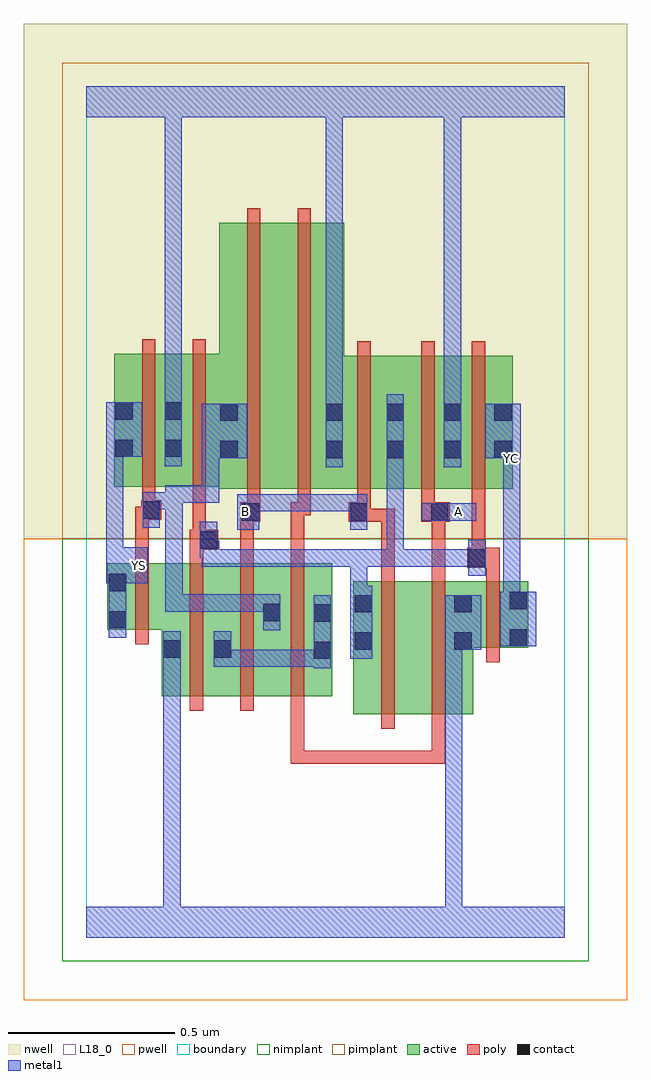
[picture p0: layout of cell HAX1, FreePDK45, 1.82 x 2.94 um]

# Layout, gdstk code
import gdstk
lib = gdstk.Library(unit=1e-6, precision=1e-09)
def R(c, l, rs):  # rectangles x0, y0, x1, y1
    for r in rs: c.add(gdstk.rectangle(r[:2], r[2:], *l))
def A(c, l, x, y, w, h, nx, ny, dx, dy):  # array of equal rectangles
    R(c, l, [(x+i*dx, y+j*dy, x+i*dx+w, y+j*dy+h) for i in range(nx) for j in range(ny)])
active = (1, 0)
pwell = (2, 0)
nwell = (3, 0)
nimplant = (4, 0)
pimplant = (5, 0)
poly = (9, 0)
contact = (10, 0)
metal1 = (11, 0)
L18_0 = (18, 0)
boundary = (235, 0)

hax1 = lib.new_cell('HAX1')
R(hax1, active, [(0.804,0.672,0.864,1.072), (0.804,0.672,0.984,1.072), (0.984,0.672,1.164,1.072), (1.104,0.672,1.164,1.072), (0.228,0.726,0.44,1.126), (0.228,0.726,0.288,1.058), (0.38,0.726,0.588,1.126), (0.38,0.726,0.44,1.058), (0.528,0.726,0.74,1.126), (0.68,0.726,0.74,1.126), (0.528,0.756,0.588,1.008), (1.104,0.872,1.33,1.072), (1.27,0.872,1.33,1.072), (0.064,0.926,0.124,1.126), (0.064,0.926,0.288,1.126), (0.4,1.35,0.58,2.15), (0.58,1.35,0.776,2.15), (0.716,1.35,0.96,1.75), (0.716,1.35,0.776,1.768), (0.9,1.35,0.96,1.75), (0.9,1.35,1.132,1.75), (1.072,1.35,1.132,1.75), (1.072,1.35,1.284,1.75), (1.224,1.35,1.284,1.75), (0.084,1.356,0.144,1.756), (0.084,1.356,0.292,1.756), (0.232,1.356,0.292,1.756), (0.232,1.356,0.46,1.756), (0.4,1.356,0.46,1.75)])
R(hax1, pwell, [(-0.188,-0.188,1.628,1.2)])
R(hax1, nwell, [(-0.188,1.2,1.628,2.748)])
R(hax1, nimplant, [(-0.072,-0.072,1.512,1.2)])
R(hax1, pimplant, [(-0.072,1.2,1.512,2.632)])
A(hax1, poly, 0.312, 0.682, 0.04, 0.488, 3, 1, 0.152, 0)
R(hax1, poly, [(0.616,0.522,0.656,0.562), (0.616,0.522,0.656,0.562), (0.616,0.522,0.656,0.562), (0.616,0.522,0.942,0.562), (0.616,0.522,0.656,0.722), (0.902,0.522,0.942,0.562), (0.902,0.522,0.942,0.562), (0.902,0.522,0.942,0.562), (0.902,0.522,1.08,0.562), (1.04,0.522,1.08,0.562), (1.04,0.522,1.08,0.562), (1.04,0.522,1.08,0.562), (1.04,0.522,1.08,0.668), (0.888,0.628,0.928,1.116), (1.04,0.628,1.08,1.116), (1.204,0.828,1.244,1.116), (0.148,0.882,0.188,1.17), (0.888,1.076,0.928,1.29), (1.04,1.076,1.08,1.29), (1.204,1.076,1.244,1.152), (1.146,1.112,1.244,1.172), (0.148,1.13,0.188,1.296), (0.312,1.13,0.352,1.206), (0.464,1.13,0.504,1.29), (0.616,1.13,0.656,1.31), (1.16,1.132,1.2,1.346), (1.16,1.132,1.2,1.172), (1.16,1.132,1.2,1.172), (0.312,1.166,0.398,1.226), (0.32,1.186,0.36,1.226), (0.32,1.186,0.36,1.226), (0.32,1.186,0.36,1.352), (0.464,1.25,0.504,1.29), (0.464,1.25,0.504,1.29), (0.464,1.25,0.524,1.31), (0.79,1.25,0.856,1.31), (0.816,1.25,0.856,1.29), (0.816,1.25,0.928,1.29), (1.008,1.25,1.094,1.31), (1.04,1.25,1.08,1.29), (1.04,1.25,1.08,1.29), (0.148,1.256,0.206,1.296), (0.166,1.256,0.206,1.296), (0.166,1.256,0.226,1.316), (0.484,1.27,0.524,1.346), (0.616,1.27,0.656,1.31), (0.616,1.27,0.656,1.31), (0.616,1.27,0.676,1.31), (0.636,1.27,0.676,1.346), (0.816,1.27,0.856,1.346), (1.008,1.27,1.048,1.346), (0.168,1.276,0.208,1.352), (0.484,1.306,0.524,2.194), (0.636,1.306,0.676,2.194), (0.816,1.306,0.856,1.794), (1.008,1.306,1.048,1.794), (1.16,1.306,1.2,1.794), (0.168,1.312,0.208,1.8), (0.32,1.312,0.36,1.8)])
R(hax1, contact, [(0.684,0.838,0.736,0.89), (0.232,0.842,0.284,0.894), (0.384,0.842,0.436,0.894), (0.808,0.866,0.86,0.918), (1.108,0.866,1.16,0.918), (1.274,0.876,1.326,0.928), (0.068,0.93,0.12,0.982), (0.684,0.95,0.736,1.002), (0.532,0.952,0.584,1.004), (0.808,0.978,0.86,1.03), (1.108,0.978,1.16,1.03), (1.274,0.988,1.326,1.04), (0.068,1.042,0.12,1.094), (1.15,1.116,1.202,1.168), (0.342,1.17,0.394,1.222), (0.468,1.254,0.52,1.306), (0.794,1.254,0.846,1.306), (1.038,1.254,1.09,1.306), (0.17,1.26,0.222,1.312), (0.404,1.442,0.456,1.494), (0.72,1.442,0.772,1.494), (0.904,1.442,0.956,1.494), (1.076,1.442,1.128,1.494), (1.228,1.442,1.28,1.494), (0.088,1.446,0.14,1.498), (0.236,1.446,0.288,1.498), (0.404,1.554,0.456,1.606), (0.72,1.554,0.772,1.606), (0.904,1.554,0.956,1.606), (1.076,1.554,1.128,1.606), (1.228,1.554,1.28,1.606), (0.088,1.558,0.14,1.61), (0.236,1.558,0.288,1.61)])
R(hax1, metal1, [(0,0,1.44,0.092), (0.232,0.04,0.284,0.092), (0.232,0.04,0.284,0.092), (0.232,0.04,0.284,0.092), (0.232,0.04,0.284,0.092), (0.232,0.04,0.284,0.092), (0.232,0.04,0.284,0.092), (0.232,0.04,0.284,0.092), (0.232,0.04,0.284,0.092), (0.232,0.04,0.284,0.866), (1.08,0.04,1.132,0.092), (1.08,0.04,1.132,0.092), (1.08,0.04,1.132,0.918), (0.684,0.81,0.736,1.03), (0.232,0.814,0.284,0.866), (0.232,0.814,0.284,0.866), (0.232,0.814,0.284,0.866), (0.232,0.814,0.284,0.866), (0.232,0.814,0.284,0.922), (0.384,0.814,0.436,0.922), (0.384,0.814,0.626,0.866), (0.574,0.814,0.626,0.866), (0.574,0.814,0.626,0.866), (0.574,0.814,0.626,0.866), (0.574,0.814,0.736,0.866), (0.684,0.814,0.736,0.866), (0.684,0.814,0.736,0.866), (0.794,0.838,0.86,1.058), (1.08,0.866,1.132,0.918), (1.08,0.866,1.132,0.918), (1.08,0.866,1.132,0.918), (1.08,0.866,1.132,0.918), (1.08,0.866,1.132,0.918), (1.08,0.866,1.132,0.918), (1.08,0.866,1.132,0.918), (1.08,0.866,1.132,0.918), (1.08,0.866,1.132,0.918), (1.08,0.866,1.132,0.918), (1.08,0.866,1.188,1.03), (1.246,0.876,1.354,1.04), (0.068,0.902,0.12,1.122), (0.532,0.924,0.584,1.032), (0.238,0.98,0.29,1.032), (0.238,0.98,0.396,1.032), (0.238,0.98,0.29,1.34), (0.344,0.98,0.396,1.032), (0.344,0.98,0.436,1.032), (0.384,0.98,0.436,1.032), (0.384,0.98,0.584,1.032), (0.532,0.98,0.584,1.032), (0.532,0.98,0.584,1.032), (1.254,0.988,1.306,1.438), (0.794,1.006,0.846,1.168), (0.06,1.066,0.186,1.174), (0.068,1.066,0.12,1.118), (1.15,1.088,1.202,1.196), (0.348,1.116,0.546,1.168), (0.348,1.116,0.4,1.194), (0.494,1.116,0.546,1.168), (0.494,1.116,0.546,1.168), (0.494,1.116,0.546,1.168), (0.494,1.116,0.736,1.168), (0.684,1.116,0.736,1.168), (0.684,1.116,0.736,1.168), (0.684,1.116,0.736,1.168), (0.684,1.116,0.846,1.168), (0.794,1.116,0.846,1.168), (0.794,1.116,0.846,1.168), (0.794,1.116,0.846,1.168), (0.794,1.116,0.956,1.168), (0.904,1.116,0.956,1.168), (0.904,1.116,0.956,1.168), (0.904,1.116,0.956,1.168), (0.904,1.116,1.092,1.168), (0.904,1.116,0.956,1.466), (1.04,1.116,1.092,1.168), (1.04,1.116,1.092,1.168), (1.04,1.116,1.092,1.168), (1.04,1.116,1.202,1.168), (0.06,1.122,0.112,1.498), (0.342,1.142,0.394,1.25), (0.342,1.142,0.4,1.194), (0.454,1.226,0.52,1.334), (0.794,1.226,0.846,1.334), (0.17,1.232,0.222,1.34), (1.01,1.254,1.174,1.306), (0.468,1.282,0.546,1.334), (0.494,1.282,0.546,1.334), (0.494,1.282,0.736,1.334), (0.684,1.282,0.736,1.334), (0.684,1.282,0.736,1.334), (0.684,1.282,0.736,1.334), (0.684,1.282,0.846,1.334), (0.794,1.282,0.846,1.334), (0.794,1.282,0.846,1.334), (0.17,1.288,0.29,1.34), (0.238,1.288,0.29,1.34), (0.238,1.288,0.29,1.34), (0.238,1.288,0.29,1.36), (0.238,1.308,0.396,1.36), (0.344,1.308,0.396,1.36), (0.344,1.308,0.4,1.36), (0.348,1.308,0.4,1.36), (0.348,1.308,0.4,1.494), (1.254,1.386,1.306,1.494), (0.72,1.414,0.772,1.634), (0.904,1.414,0.956,1.634), (1.076,1.414,1.128,1.634), (0.236,1.418,0.288,1.638), (0.348,1.442,0.484,1.606), (1.2,1.442,1.308,1.606), (1.254,1.442,1.306,1.494), (1.254,1.442,1.306,1.494), (1.254,1.442,1.306,1.494), (0.06,1.446,0.112,1.498), (0.06,1.446,0.112,1.498), (0.06,1.446,0.168,1.61), (0.72,1.582,0.772,1.634), (0.72,1.582,0.772,1.634), (0.72,1.582,0.772,1.634), (0.72,1.582,0.772,1.634), (0.72,1.582,0.772,2.52), (1.076,1.582,1.128,1.634), (1.076,1.582,1.128,1.634), (1.076,1.582,1.128,1.634), (1.076,1.582,1.128,1.634), (1.076,1.582,1.128,1.634), (1.076,1.582,1.128,1.634), (1.076,1.582,1.128,1.634), (1.076,1.582,1.128,1.634), (1.076,1.582,1.128,1.634), (1.076,1.582,1.128,1.634), (1.076,1.582,1.128,2.52), (0.236,1.586,0.288,1.638), (0.236,1.586,0.288,1.638), (0.236,1.586,0.288,1.638), (0.236,1.586,0.288,1.638), (0.236,1.586,0.288,1.638), (0.236,1.586,0.288,1.638), (0.236,1.586,0.288,1.638), (0.236,1.586,0.288,1.638), (0.236,1.586,0.288,1.638), (0.236,1.586,0.288,1.638), (0.236,1.586,0.288,1.638), (0.236,1.586,0.288,1.638), (0.236,1.586,0.288,2.52), (0,2.468,1.44,2.56), (0.236,2.468,0.288,2.52), (0.236,2.468,0.288,2.52), (0.236,2.468,0.288,2.52), (0.236,2.468,0.288,2.52), (0.72,2.468,0.772,2.52), (0.72,2.468,0.772,2.52), (0.72,2.468,0.772,2.52), (0.72,2.468,0.772,2.52), (1.076,2.468,1.128,2.52), (1.076,2.468,1.128,2.52), (1.076,2.468,1.128,2.52), (1.076,2.468,1.128,2.52), (1.076,2.468,1.128,2.52), (1.076,2.468,1.128,2.52)])
R(hax1, L18_0, [(0,0,1.44,0.092), (0.232,0.04,0.284,0.092), (0.232,0.04,0.284,0.092), (0.232,0.04,0.284,0.092), (0.232,0.04,0.284,0.092), (0.232,0.04,0.284,0.092), (0.232,0.04,0.284,0.092), (0.232,0.04,0.284,0.092), (0.232,0.04,0.284,0.092), (0.232,0.04,0.284,0.866), (1.08,0.04,1.132,0.092), (1.08,0.04,1.132,0.092), (1.08,0.04,1.132,0.918), (0.232,0.814,0.284,0.866), (0.232,0.814,0.284,0.866), (0.232,0.814,0.284,0.866), (0.232,0.814,0.284,0.866), (0.232,0.814,0.284,0.922), (1.08,0.866,1.132,0.918), (1.08,0.866,1.132,0.918), (1.08,0.866,1.132,0.918), (1.08,0.866,1.132,0.918), (1.08,0.866,1.132,0.918), (1.08,0.866,1.132,0.918), (1.08,0.866,1.132,0.918), (1.08,0.866,1.132,0.918), (1.08,0.866,1.132,0.918), (1.08,0.866,1.132,0.918), (1.08,0.866,1.188,1.03), (1.246,0.876,1.354,1.04), (0.068,0.902,0.12,1.122), (1.254,0.988,1.306,1.438), (0.06,1.066,0.186,1.174), (0.068,1.066,0.12,1.118), (0.134,1.094,0.186,1.146), (0.06,1.122,0.112,1.498), (0.454,1.226,0.52,1.334), (0.794,1.226,0.846,1.334), (0.454,1.254,0.506,1.306), (1.01,1.254,1.174,1.306), (1.094,1.254,1.146,1.306), (0.468,1.282,0.546,1.334), (0.494,1.282,0.546,1.334), (0.494,1.282,0.736,1.334), (0.684,1.282,0.736,1.334), (0.684,1.282,0.736,1.334), (0.684,1.282,0.736,1.334), (0.684,1.282,0.846,1.334), (0.794,1.282,0.846,1.334), (0.794,1.282,0.846,1.334), (1.254,1.386,1.306,1.494), (0.72,1.414,0.772,1.634), (1.076,1.414,1.128,1.634), (1.254,1.414,1.306,1.466), (0.236,1.418,0.288,1.638), (1.2,1.442,1.308,1.606), (1.254,1.442,1.306,1.494), (1.254,1.442,1.306,1.494), (1.254,1.442,1.306,1.494), (0.06,1.446,0.112,1.498), (0.06,1.446,0.112,1.498), (0.06,1.446,0.168,1.61), (0.72,1.582,0.772,1.634), (0.72,1.582,0.772,1.634), (0.72,1.582,0.772,1.634), (0.72,1.582,0.772,1.634), (0.72,1.582,0.772,2.52), (1.076,1.582,1.128,1.634), (1.076,1.582,1.128,1.634), (1.076,1.582,1.128,1.634), (1.076,1.582,1.128,1.634), (1.076,1.582,1.128,1.634), (1.076,1.582,1.128,1.634), (1.076,1.582,1.128,1.634), (1.076,1.582,1.128,1.634), (1.076,1.582,1.128,1.634), (1.076,1.582,1.128,1.634), (1.076,1.582,1.128,2.52), (0.236,1.586,0.288,1.638), (0.236,1.586,0.288,1.638), (0.236,1.586,0.288,1.638), (0.236,1.586,0.288,1.638), (0.236,1.586,0.288,1.638), (0.236,1.586,0.288,1.638), (0.236,1.586,0.288,1.638), (0.236,1.586,0.288,1.638), (0.236,1.586,0.288,1.638), (0.236,1.586,0.288,1.638), (0.236,1.586,0.288,1.638), (0.236,1.586,0.288,1.638), (0.236,1.586,0.288,2.52), (0,2.468,1.44,2.56), (0.236,2.468,0.288,2.52), (0.236,2.468,0.288,2.52), (0.236,2.468,0.288,2.52), (0.236,2.468,0.288,2.52), (0.72,2.468,0.772,2.52), (0.72,2.468,0.772,2.52), (0.72,2.468,0.772,2.52), (0.72,2.468,0.772,2.52), (1.076,2.468,1.128,2.52), (1.076,2.468,1.128,2.52), (1.076,2.468,1.128,2.52), (1.076,2.468,1.128,2.52), (1.076,2.468,1.128,2.52), (1.076,2.468,1.128,2.52)])
R(hax1, boundary, [(0,0,1.44,2.56)])
hax1.add(gdstk.Label('A', (1.12,1.28), layer=11, texttype=0))
hax1.add(gdstk.Label('B', (0.48,1.28), layer=11, texttype=0))
hax1.add(gdstk.Label('YC', (1.28,1.44), layer=11, texttype=0))
hax1.add(gdstk.Label('YS', (0.16,1.12), layer=11, texttype=0))

lib.write_gds('HAX1.gds')
